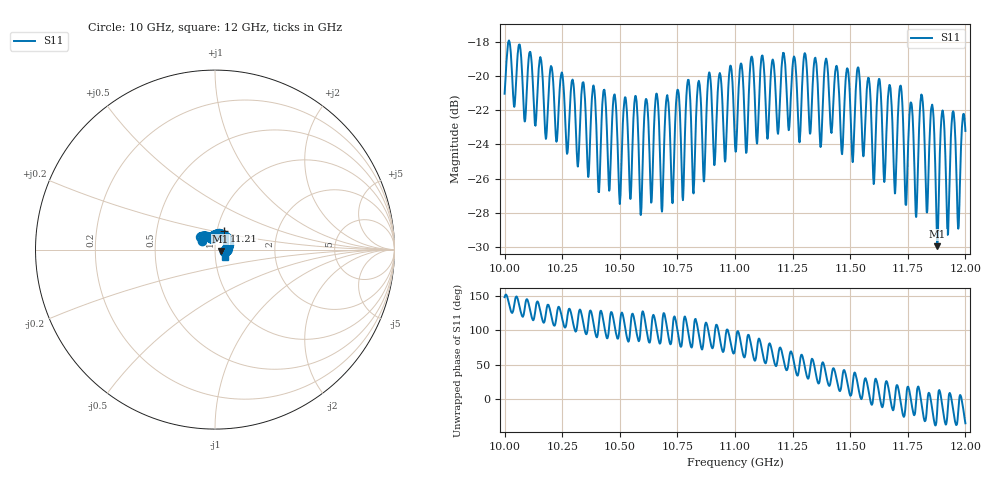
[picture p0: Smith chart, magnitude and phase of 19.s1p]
[Version] 2.0
! Rohde & Schwarz Vector Network Analyzer
! Rohde-Schwarz,ZNL20-2Port,1323001220200009,1.71.1.10-23.02.1.238
! Port Assignments:
! Nominal Port -> Actual Test Port
!  1 -> 1
! Created: GMT 2024-09-04 12:03:16
# Hz S DB R 50
[Number of Ports] 1
! freq[Hz]  S11[mag dB]  S11[ang]
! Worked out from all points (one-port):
!   2001 points, 10 GHz to 12 GHz, reference 50 ohm
!   lowest |S11| = -30.0 dB at 11.88 GHz (marker M1), VSWR 1.07, Z = 53.2 - j0.775 ohm
!   |S11| at or under -10 dB: start of sweep to end of sweep
!   S11 on the Smith chart (normalised r, x): 10 GHz: 0.86, +0.08; 11.21 GHz: 1.08, +0.23; 12 GHz: 1.12, -0.09
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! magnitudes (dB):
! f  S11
! 10 GHz  -21.0
! 10.25 GHz  -19.9
! 10.36 GHz  -25.9
! 10.39 GHz  -20.6
! 10.41 GHz  -26.7
! 10.48 GHz  -21.1
! 10.5 GHz  -27.5
! 10.52 GHz  -21.2
! 10.64 GHz  -27.4
! 10.66 GHz  -21.0
! 10.73 GHz  -27.4
! 10.75 GHz  -20.8
! 10.77 GHz  -27.2
! 10.8 GHz  -20.2
! 10.82 GHz  -26.9
! 10.84 GHz  -20.3
! 11 GHz  -24.1
! 11.21 GHz  -18.8
! 11.25 GHz  -19.4
! 11.5 GHz  -21.6
! 11.75 GHz  -24.7
! 11.81 GHz  -21.2
! 11.83 GHz  -28.0
! 11.86 GHz  -21.7
! 11.88 GHz  -30.0
! 11.9 GHz  -22.1
! 11.92 GHz  -29.2
! 12 GHz  -23.2
